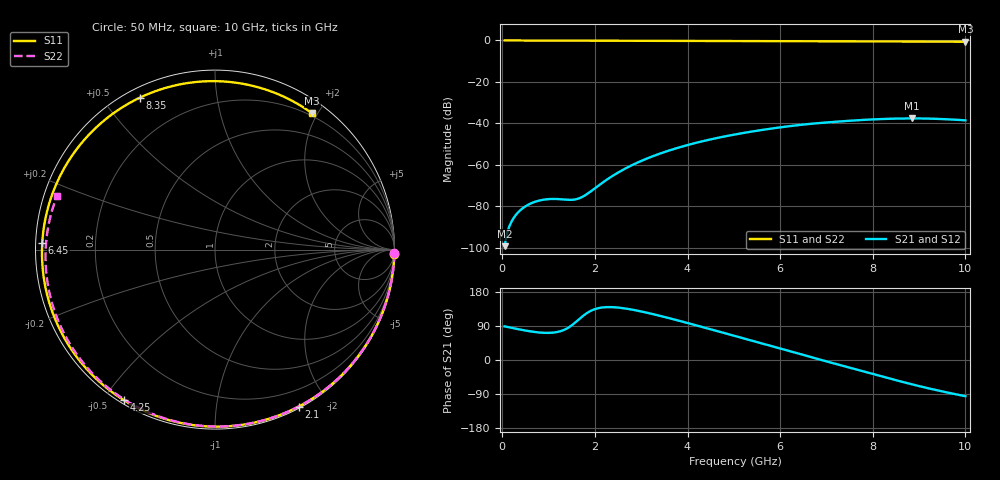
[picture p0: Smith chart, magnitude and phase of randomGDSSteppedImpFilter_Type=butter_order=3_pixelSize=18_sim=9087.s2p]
! freq	dB(S11)	phase(S11)	dB(S12)	phase(S12)
!  dB(S21)	phase(S21)	dB(S22)	phase(S22)
!S-par simulation data
#  GHz  S  DB  R 50
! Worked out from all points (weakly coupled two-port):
!   200 points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, 50 MHz to 10 GHz, reference 50 ohm
!   highest |S21| = -37.62 dB at 8.85 GHz (marker M1); lowest = -99.2 dB at 50 MHz (marker M2)
!   lowest |S11| = -0.6 dB at 10 GHz (marker M3), VSWR 28.56, Z = 8.31 + j96.5 ohm
!   |S11| at or under -10 dB: nowhere
!   |S22| runs from -0.6 to 0.0 dB; largest |S21 - S12| = 0
!   S11 on the Smith chart (normalised r, x): 50 MHz: 1, -75; 2.1 GHz: 0.02, -1.66; 4.25 GHz: 0.01, -0.56; 6.45 GHz: 0.02, +0.02; 8.35 GHz: 0.04, +0.62; 10 GHz: 0.17, +1.93
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0.05  -0.00 -1.5  -99.23 88.8  -99.23 88.8  -0.00 -1.1
0.5  -0.02 -15.1  -80.02 77.7  -80.02 77.7  -0.01 -11.2
0.65  -0.03 -19.6  -78.29 74.8  -78.29 74.8  -0.02 -14.6
0.85  -0.03 -25.5  -76.97 72.1  -76.97 72.1  -0.02 -19.0
1.1  -0.04 -33.0  -76.45 72.3  -76.45 72.3  -0.03 -24.5
1.5  -0.06 -44.7  -76.87 91.5  -76.87 91.5  -0.04 -33.2
1.75  -0.07 -52.0  -75.20 117.0  -75.20 117.0  -0.05 -38.6
2.1  -0.08 -62.0  -69.65 137.4  -69.65 137.4  -0.06 -46.1
2.7  -0.10 -78.9  -61.28 135.1  -61.28 135.1  -0.08 -58.7
3.4  -0.13 -98.2  -54.61 116.7  -54.61 116.7  -0.10 -72.9
4.25  -0.17 -121.2  -49.01 89.3  -49.01 89.3  -0.13 -89.6
5.05  -0.22 -142.8  -45.24 62.5  -45.24 62.5  -0.16 -104.8
5.75  -0.27 -162.1  -42.70 39.0  -42.70 39.0  -0.20 -117.7
6.45  -0.33 177.8  -40.69 15.1  -40.69 15.1  -0.24 -130.5
6.7  -0.35 170.3  -40.13 6.4  -40.13 6.4  -0.26 -135.0
7.1  -0.38 158.0  -39.38 -7.0  -39.38 -7.0  -0.29 -142.3
7.5  -0.42 145.2  -38.73 -20.2  -38.73 -20.2  -0.33 -149.6
7.9  -0.46 131.9  -38.20 -33.4  -38.20 -33.4  -0.37 -157.0
8.35  -0.50 116.3  -37.79 -48.4  -37.79 -48.4  -0.42 -165.5
8.85  -0.54 98.1  -37.62 -64.3  -37.62 -64.3  -0.47 -175.1
9.4  -0.57 77.4  -37.83 -80.2  -37.83 -80.2  -0.55 173.8
10  -0.61 54.5  -38.53 -95.6  -38.53 -95.6  -0.63 161.1
